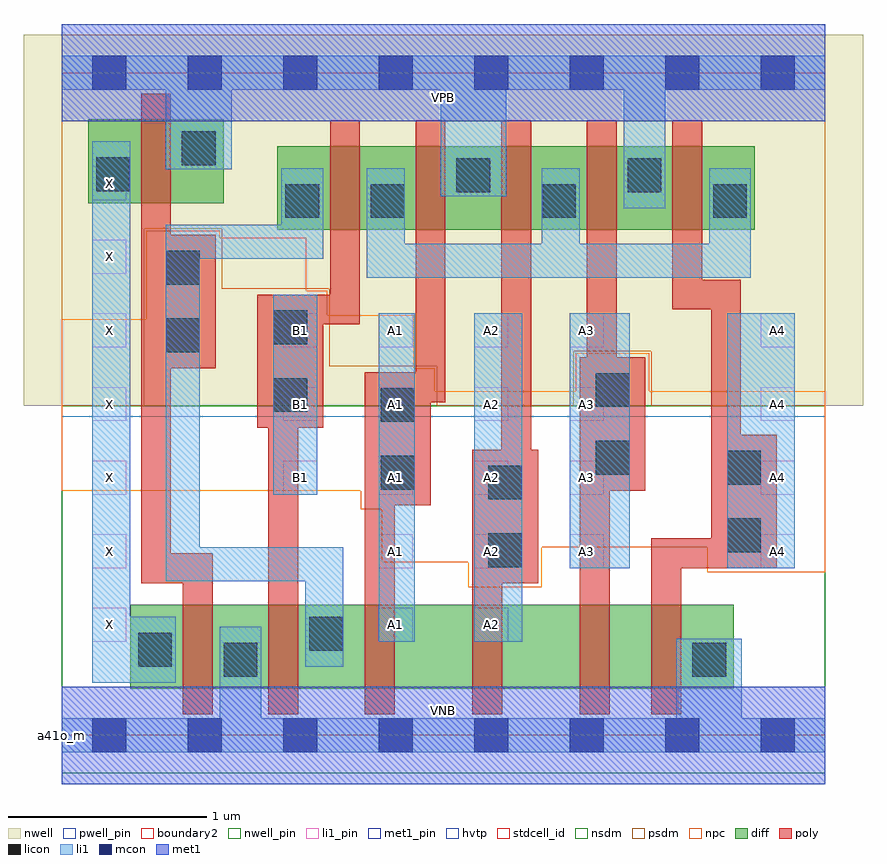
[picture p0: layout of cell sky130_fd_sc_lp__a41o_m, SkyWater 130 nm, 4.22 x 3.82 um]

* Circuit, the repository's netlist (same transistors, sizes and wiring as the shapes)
* Copyright 2020 The SkyWater PDK Authors
*
* Licensed under the Apache License, Version 2.0 (the "License");
* you may not use this file except in compliance with the License.
* You may obtain a copy of the License at
*
*     https://www.apache.org/licenses/LICENSE-2.0
*
* Unless required by applicable law or agreed to in writing, software
* distributed under the License is distributed on an "AS IS" BASIS,
* WITHOUT WARRANTIES OR CONDITIONS OF ANY KIND, either express or implied.
* See the License for the specific language governing permissions and
* limitations under the License.
*
* SPDX-License-Identifier: Apache-2.0

.SUBCKT sky130_fd_sc_lp__a41o_m A1 A2 A3 A4 B1 VGND VNB VPB VPWR X
*.PININFO A1:I A2:I A3:I A4:I B1:I VGND:I VNB:I VPB:I VPWR:I X:O
MMPA0 pndA A1 VPWR VPB sky130_fd_pr__pfet_01v8_hvt m=1 w=0.42U l=0.15U mult=1 sa=0.265
+ sb=0.265 sd=0.28 area=0.063 perim=1.14
MMPA1 pndA A2 VPWR VPB sky130_fd_pr__pfet_01v8_hvt m=1 w=0.42U l=0.15U mult=1 sa=0.265
+ sb=0.265 sd=0.28 area=0.063 perim=1.14
MMPA2 pndA A3 VPWR VPB sky130_fd_pr__pfet_01v8_hvt m=1 w=0.42U l=0.15U mult=1 sa=0.265
+ sb=0.265 sd=0.28 area=0.063 perim=1.14
MMPA3 pndA A4 VPWR VPB sky130_fd_pr__pfet_01v8_hvt m=1 w=0.42U l=0.15U mult=1 sa=0.265
+ sb=0.265 sd=0.28 area=0.063 perim=1.14
MMPB0 y B1 pndA VPB sky130_fd_pr__pfet_01v8_hvt m=1 w=0.42U l=0.15U mult=1 sa=0.265
+ sb=0.265 sd=0.28 area=0.063 perim=1.14
MMIPX X y VPWR VPB sky130_fd_pr__pfet_01v8_hvt m=1 w=0.42U l=0.15U mult=1 sa=0.265
+ sb=0.265 sd=0.28 area=0.063 perim=1.14
MMNA0 y A1 sndA1 VNB sky130_fd_pr__nfet_01v8 m=1 w=0.42U l=0.15U mult=1 sa=0.265
+ sb=0.265 sd=0.28 area=0.063 perim=1.14
MMNA1 sndA1 A2 sndA2 VNB sky130_fd_pr__nfet_01v8 m=1 w=0.42U l=0.15U mult=1 sa=0.265
+ sb=0.265 sd=0.28 area=0.063 perim=1.14
MMNA2 sndA2 A3 sndA3 VNB sky130_fd_pr__nfet_01v8 m=1 w=0.42U l=0.15U mult=1 sa=0.265
+ sb=0.265 sd=0.28 area=0.063 perim=1.14
MMNA3 sndA3 A4 VGND VNB sky130_fd_pr__nfet_01v8 m=1 w=0.42U l=0.15U mult=1 sa=0.265
+ sb=0.265 sd=0.28 area=0.063 perim=1.14
MMNB0 y B1 VGND VNB sky130_fd_pr__nfet_01v8 m=1 w=0.42U l=0.15U mult=1 sa=0.265
+ sb=0.265 sd=0.28 area=0.063 perim=1.14
MMINX X y VGND VNB sky130_fd_pr__nfet_01v8 m=1 w=0.42U l=0.15U mult=1 sa=0.265
+ sb=0.265 sd=0.28 area=0.063 perim=1.14
.ENDS sky130_fd_sc_lp__a41o_m

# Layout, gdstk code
import gdstk
lib = gdstk.Library(unit=1e-6, precision=1e-09)
def R(c, l, rs):  # rectangles x0, y0, x1, y1
    for r in rs: c.add(gdstk.rectangle(r[:2], r[2:], *l))
def A(c, l, x, y, w, h, nx, ny, dx, dy):  # array of equal rectangles
    R(c, l, [(x+i*dx, y+j*dy, x+i*dx+w, y+j*dy+h) for i in range(nx) for j in range(ny)])
def P(c, l, *ps):  # polygons
    for p in ps: c.add(gdstk.Polygon(p, *l))
nwell_pin = (64, 16)
nwell = (64, 20)
diff = (65, 20)
poly = (66, 20)
licon = (66, 44)
li1_pin = (67, 16)
li1 = (67, 20)
mcon = (67, 44)
met1_pin = (68, 16)
met1 = (68, 20)
hvtp = (78, 44)
stdcell_id = (81, 4)
nsdm = (93, 44)
psdm = (94, 20)
npc = (95, 20)
pwell_pin = (122, 16)
boundary2 = (236, 0)

sky130_fd_sc_lp__a41o_m = lib.new_cell('sky130_fd_sc_lp__a41o_m')
R(sky130_fd_sc_lp__a41o_m, nwell_pin, [(0,3.085,3.84,3.33)])
R(sky130_fd_sc_lp__a41o_m, nwell, [(-0.19,1.655,4.03,3.52)])
R(sky130_fd_sc_lp__a41o_m, diff, [(0.345,0.235,3.38,0.655), (1.085,2.54,3.485,2.96), (0.135,2.675,0.815,3.095)])
P(sky130_fd_sc_lp__a41o_m, poly, [(0.775,2.515),(0.55,2.515),(0.55,3.225),(0.4,3.225),(0.4,0.765),(0.61,0.765),(0.61,0.105),(0.76,0.105),(0.76,0.915),(0.55,0.915),(0.55,1.845),(0.775,1.845)],
  [(1.5,3.09),(1.35,3.09),(1.35,2.215),(0.985,2.215),(0.985,1.545),(1.04,1.545),(1.04,0.105),(1.19,0.105),(1.19,1.545),(1.315,1.545),(1.315,2.065),(1.5,2.065)],
  [(1.93,3.09),(1.78,3.09),(1.78,1.825),(1.525,1.825),(1.525,0.105),(1.675,0.105),(1.675,1.155),(1.855,1.155),(1.855,1.675),(1.93,1.675)],
  [(2.395,1.435),(2.36,1.435),(2.36,3.09),(2.21,3.09),(2.21,1.435),(2.065,1.435),(2.065,0.105),(2.215,0.105),(2.215,0.765),(2.395,0.765)],
  [(2.935,1.9),(2.79,1.9),(2.79,3.09),(2.64,3.09),(2.64,1.9),(2.605,1.9),(2.605,0.105),(2.755,0.105),(2.755,1.23),(2.935,1.23)],
  [(3.595,1.51),(3.415,1.51),(3.415,2.29),(3.22,2.29),(3.22,3.09),(3.07,3.09),(3.07,2.14),(3.265,2.14),(3.265,0.99),(2.965,0.99),(2.965,0.105),(3.115,0.105),(3.115,0.84),(3.595,0.84)])
A(sky130_fd_sc_lp__a41o_m, licon, 1.555, 2.6, 0.17, 0.17, 3, 1, 0.86, 0)
R(sky130_fd_sc_lp__a41o_m, licon, [(0.815,0.295,0.985,0.465), (3.17,0.295,3.34,0.465), (0.385,0.345,0.555,0.515), (1.245,0.425,1.415,0.595), (2.145,0.845,2.315,1.015), (3.345,0.92,3.515,1.09), (2.145,1.185,2.315,1.355), (1.605,1.235,1.775,1.405), (3.345,1.26,3.515,1.43), (2.685,1.31,2.855,1.48), (1.605,1.575,1.775,1.745), (1.065,1.625,1.235,1.795), (2.685,1.65,2.855,1.82), (0.525,1.925,0.695,2.095), (1.065,1.965,1.235,2.135), (0.525,2.265,0.695,2.435), (1.125,2.6,1.295,2.77), (1.985,2.73,2.155,2.9), (2.845,2.73,3.015,2.9), (0.175,2.735,0.345,2.905), (0.605,2.865,0.775,3.035)])
A(sky130_fd_sc_lp__a41o_m, li1_pin, 0.155, 0.47, 0.17, 0.17, 1, 7, 0, 0.37)
A(sky130_fd_sc_lp__a41o_m, li1_pin, 1.595, 0.84, 0.17, 0.17, 3, 1, 0.48, 0)
A(sky130_fd_sc_lp__a41o_m, li1_pin, 3.515, 0.84, 0.17, 0.17, 1, 4, 0, 0.37)
A(sky130_fd_sc_lp__a41o_m, li1_pin, 1.115, 1.21, 0.17, 0.17, 4, 3, 0.48, 0.37)
R(sky130_fd_sc_lp__a41o_m, li1_pin, [(1.595,0.47,1.765,0.64), (2.075,0.47,2.245,0.64)])
R(sky130_fd_sc_lp__a41o_m, li1, [(1.595,0.47,1.775,2.12), (2.075,0.47,2.315,2.12), (2.555,0.84,2.855,2.12), (3.345,0.84,3.685,2.12), (1.065,1.21,1.285,2.215)])
P(sky130_fd_sc_lp__a41o_m, li1, [(0.525,2.845),(0.525,3.245),(0,3.245),(0,3.415),(3.84,3.415),(3.84,3.245),(3.035,3.245),(3.035,2.65),(2.825,2.65),(2.825,3.245),(2.235,3.245),(2.235,2.71),(1.905,2.71),(1.905,3.245),(0.855,3.245),(0.855,2.845)],
  [(3.09,0.085),(3.09,0.485),(3.42,0.485),(3.42,0.085),(3.84,0.085),(3.84,-0.085),(0,-0.085),(0,0.085),(0.795,0.085),(0.795,0.545),(1.005,0.545),(1.005,0.085)],
  [(0.695,2.395),(0.695,0.945),(1.415,0.945),(1.415,0.345),(1.225,0.345),(1.225,0.775),(0.525,0.775),(0.525,2.565),(1.105,2.565),(1.105,2.85),(1.315,2.85),(1.315,2.395)],
  [(0.345,0.595),(0.575,0.595),(0.575,0.265),(0.155,0.265),(0.155,2.985),(0.345,2.985)],
  [(2.415,2.47),(2.415,2.85),(2.605,2.85),(2.605,2.47),(3.255,2.47),(3.255,2.85),(3.465,2.85),(3.465,2.3),(1.535,2.3),(1.535,2.85),(1.725,2.85),(1.725,2.47)])
A(sky130_fd_sc_lp__a41o_m, mcon, 0.155, -0.085, 0.17, 0.17, 8, 2, 0.48, 3.33)
R(sky130_fd_sc_lp__a41o_m, met1_pin, [(0,0,3.84,0.245), (0,3.085,3.84,3.33)])
R(sky130_fd_sc_lp__a41o_m, met1, [(0,-0.245,3.84,0.245), (0,3.085,3.84,3.575)])
R(sky130_fd_sc_lp__a41o_m, hvtp, [(0,1.6,3.84,3.33)])
R(sky130_fd_sc_lp__a41o_m, stdcell_id, [(0,0,3.84,3.33)])
R(sky130_fd_sc_lp__a41o_m, nsdm, [(0,-0.19,3.84,1.655)])
P(sky130_fd_sc_lp__a41o_m, psdm, [(3.84,3.52),(0,3.52),(0,1.655),(0.415,1.655),(0.415,2.545),(0.805,2.545),(0.805,2.245),(1.345,2.245),(1.345,1.855),(1.885,1.855),(1.885,1.655),(2.575,1.655),(2.575,1.93),(2.965,1.93),(2.965,1.655),(3.84,1.655)])
P(sky130_fd_sc_lp__a41o_m, npc, [(3.84,1.73),(2.955,1.73),(2.955,1.92),(2.585,1.92),(2.585,1.73),(1.875,1.73),(1.875,1.845),(1.77,1.845),(1.77,2.11),(1.335,2.11),(1.335,2.235),(1.23,2.235),(1.23,2.5),(0.795,2.5),(0.795,2.535),(0.425,2.535),(0.425,2.09),(0,2.09),(0,1.23),(1.505,1.23),(1.505,1.135),(1.61,1.135),(1.61,0.87),(2.045,0.87),(2.045,0.745),(2.415,0.745),(2.415,0.945),(3.245,0.945),(3.245,0.82),(3.84,0.82)])
R(sky130_fd_sc_lp__a41o_m, pwell_pin, [(0,0,3.84,0.245)])
R(sky130_fd_sc_lp__a41o_m, boundary2, [(0,0,3.84,3.33)])
sky130_fd_sc_lp__a41o_m.add(gdstk.Label('VNB', (1.92,0.123), layer=64, texttype=59))
sky130_fd_sc_lp__a41o_m.add(gdstk.Label('VPB', (1.92,3.208), layer=64, texttype=5))
sky130_fd_sc_lp__a41o_m.add(gdstk.Label('a41o_m', (0,0), layer=83, texttype=44))
sky130_fd_sc_lp__a41o_m.add(gdstk.Label('VPWR', (1.92,3.208), layer=68, texttype=5))
sky130_fd_sc_lp__a41o_m.add(gdstk.Label('VGND', (1.92,0.123), layer=68, texttype=5))
sky130_fd_sc_lp__a41o_m.add(gdstk.Label('A1', (1.68,0.555), layer=67, texttype=5))
sky130_fd_sc_lp__a41o_m.add(gdstk.Label('A1', (1.68,0.925), layer=67, texttype=5))
sky130_fd_sc_lp__a41o_m.add(gdstk.Label('A1', (1.68,1.295), layer=67, texttype=5))
sky130_fd_sc_lp__a41o_m.add(gdstk.Label('A1', (1.68,1.665), layer=67, texttype=5))
sky130_fd_sc_lp__a41o_m.add(gdstk.Label('A1', (1.68,2.035), layer=67, texttype=5))
sky130_fd_sc_lp__a41o_m.add(gdstk.Label('A2', (2.16,0.555), layer=67, texttype=5))
sky130_fd_sc_lp__a41o_m.add(gdstk.Label('A2', (2.16,0.925), layer=67, texttype=5))
sky130_fd_sc_lp__a41o_m.add(gdstk.Label('A2', (2.16,1.295), layer=67, texttype=5))
sky130_fd_sc_lp__a41o_m.add(gdstk.Label('A2', (2.16,1.665), layer=67, texttype=5))
sky130_fd_sc_lp__a41o_m.add(gdstk.Label('A2', (2.16,2.035), layer=67, texttype=5))
sky130_fd_sc_lp__a41o_m.add(gdstk.Label('A3', (2.64,0.925), layer=67, texttype=5))
sky130_fd_sc_lp__a41o_m.add(gdstk.Label('A3', (2.64,1.295), layer=67, texttype=5))
sky130_fd_sc_lp__a41o_m.add(gdstk.Label('A3', (2.64,1.665), layer=67, texttype=5))
sky130_fd_sc_lp__a41o_m.add(gdstk.Label('A3', (2.64,2.035), layer=67, texttype=5))
sky130_fd_sc_lp__a41o_m.add(gdstk.Label('A4', (3.6,0.925), layer=67, texttype=5))
sky130_fd_sc_lp__a41o_m.add(gdstk.Label('A4', (3.6,1.295), layer=67, texttype=5))
sky130_fd_sc_lp__a41o_m.add(gdstk.Label('A4', (3.6,1.665), layer=67, texttype=5))
sky130_fd_sc_lp__a41o_m.add(gdstk.Label('A4', (3.6,2.035), layer=67, texttype=5))
sky130_fd_sc_lp__a41o_m.add(gdstk.Label('B1', (1.2,1.295), layer=67, texttype=5))
sky130_fd_sc_lp__a41o_m.add(gdstk.Label('B1', (1.2,1.665), layer=67, texttype=5))
sky130_fd_sc_lp__a41o_m.add(gdstk.Label('B1', (1.2,2.035), layer=67, texttype=5))
sky130_fd_sc_lp__a41o_m.add(gdstk.Label('X', (0.24,0.555), layer=67, texttype=5))
sky130_fd_sc_lp__a41o_m.add(gdstk.Label('X', (0.24,0.925), layer=67, texttype=5))
sky130_fd_sc_lp__a41o_m.add(gdstk.Label('X', (0.24,1.295), layer=67, texttype=5))
sky130_fd_sc_lp__a41o_m.add(gdstk.Label('X', (0.24,1.665), layer=67, texttype=5))
sky130_fd_sc_lp__a41o_m.add(gdstk.Label('X', (0.24,2.035), layer=67, texttype=5))
sky130_fd_sc_lp__a41o_m.add(gdstk.Label('X', (0.24,2.405), layer=67, texttype=5))
sky130_fd_sc_lp__a41o_m.add(gdstk.Label('X', (0.24,2.775), layer=67, texttype=5))

lib.write_gds('sky130_fd_sc_lp__a41o_m.gds')
